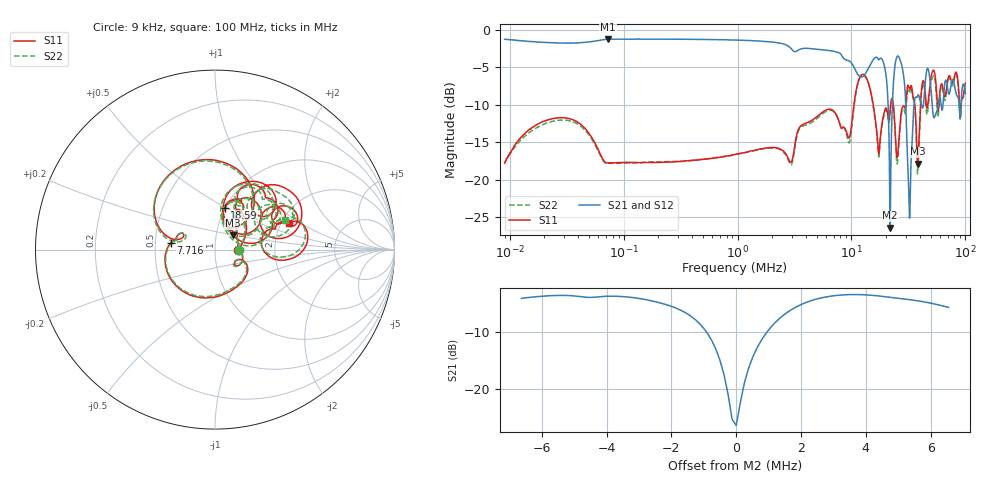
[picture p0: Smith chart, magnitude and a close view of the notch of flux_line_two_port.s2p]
!Keysight Technologies,P5004B,MY61400324,A.19.30.21
!Date: Friday, October 02, 2026 10:06:59
!Correction: S11(C* 2-Port  )
!S21(C* 2-Port  )
!S12(C* 2-Port  )
!S22(C* 2-Port  )
!S2P File: Measurements: S11, S21, S12, S22:Log Frequency Sweep
# Hz S  dB  R 50
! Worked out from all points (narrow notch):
!   1601 points, 9 kHz to 100 MHz, reference 50 ohm
!   highest |S21| = -1.21 dB at 72.78 kHz (marker M1); lowest = -26.4 dB at 21.88 MHz (marker M2)
!   notch at M2: 24.7 dB deep, 1.11 MHz wide at half that depth
!   lowest |S11| = -17.9 dB at 38.04 MHz (marker M3), VSWR 1.29, Z = 60.2 + j9.82 ohm
!   |S11| at or under -10 dB: start of sweep to 10.5 MHz; 15.51 MHz to 22.03 MHz (6.519 MHz wide, 34.7 % of centre); 23.3 MHz to 30 MHz (6.695 MHz wide, 25.1 % of centre)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
!   |S22| runs from -19.2 to -5.8 dB; largest |S21 - S12| = 0.0082
!   S11 on the Smith chart (normalised r, x): 9 kHz: 1.30, -0.01; 7.716 MHz: 0.60, +0.05; 18.59 MHz: 0.99, +0.49; 100 MHz: 2.21, +0.82
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9000  -17.77 -0.9  -1.22 -0.1  -1.23 -0.2  -17.66 -1.6
42596.93  -12.67 59.8  -1.68 1.3  -1.71 1.0  -12.91 60.5
72779.55  -17.74 1.2  -1.21 -2.1  -1.21 -2.2  -17.76 0.4
201610.9  -17.68 0.4  -1.21 -6.2  -1.21 -6.2  -17.59 0.4
954222.9  -16.60 -5.4  -1.34 -29.3  -1.34 -29.3  -16.62 -6.3
2597579  -16.36 -36.6  -1.91 -85.8  -1.90 -85.8  -16.51 -39.2
4490111  -12.05 -74.3  -2.49 -162.1  -2.49 -162.1  -12.31 -75.2
6220976  -10.58 -136.1  -2.72 112.1  -2.72 112.0  -10.74 -135.3
7716435  -12.06 171.5  -3.01 43.8  -3.01 43.7  -12.08 172.7
9135789  -13.84 153.3  -4.04 -15.4  -4.04 -15.4  -14.19 151.9
1.044489e7  -10.29 162.0  -4.89 -79.8  -4.89 -79.8  -10.62 165.2
1.3261e7  -6.17 86.1  -5.81 159.8  -5.81 159.7  -6.27 87.7
1.588411e7  -11.03 44.3  -3.77 91.8  -3.76 91.8  -11.18 44.5
1.85881e7  -12.37 76.9  -3.93 38.6  -3.94 38.6  -12.65 77.9
2.125166e7  -12.04 58.5  -13.04 -43.8  -13.05 -43.8  -12.42 59.0
2.187942e7  -10.50 64.9  -26.38 -168.5  -26.41 -168.3  -10.70 65.9
2.516067e7  -17.02 52.5  -3.54 39.5  -3.54 39.5  -17.88 51.5
2.8934e7  -10.16 61.7  -6.59 -31.5  -6.59 -31.5  -10.63 60.4
3.213093e7  -7.82 46.5  -23.99 -115.2  -24.00 -115.2  -8.23 47.3
3.804106e7  -17.85 38.8  -8.77 45.9  -8.77 45.9  -19.19 41.3
4.249091e7  -6.78 51.8  -10.27 42.5  -10.27 42.5  -7.16 52.9
1e8  -7.11 19.9  -8.50 -4.5  -8.50 -4.5  -7.43 22.7
